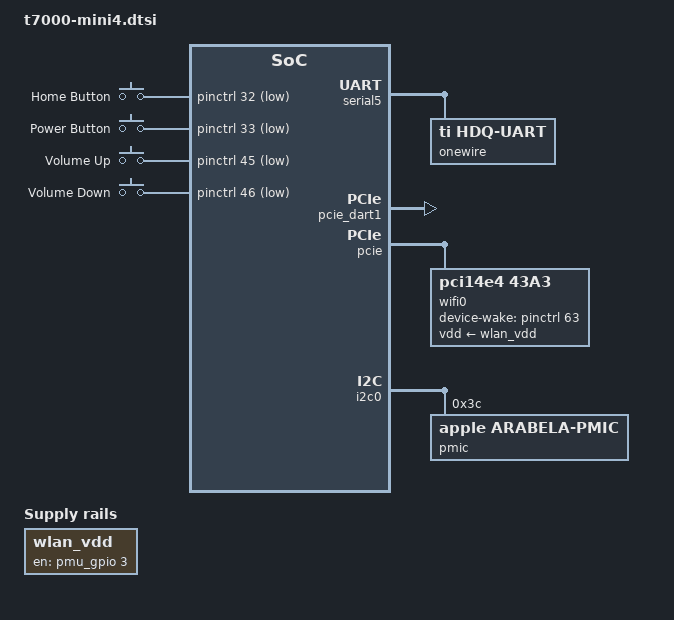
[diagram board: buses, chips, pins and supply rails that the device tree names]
// SPDX-License-Identifier: GPL-2.0+ OR MIT
/*
 * Apple iPad mini 4 common device tree
 *
 * Copyright (c) 2022, Konrad Dybcio <konradybcio@kernel.org>
 */

#include "t7000.dtsi"
#include "t7000-common.dtsi"
#include "t7000-handheld.dtsi"
#include <dt-bindings/input/input.h>

/ {
	chassis-type = "tablet";

	aliases {
		serial5 = &serial5;
		wifi0 = &wifi0;
	};

	/* Wi-Fi REG_ON is D2207 GPIO 3. */
	wlan_vdd: regulator-wlan-vdd {
		compatible = "regulator-fixed";
		regulator-name = "wlan-vdd";
		gpio = <&pmu_gpio 3 GPIO_ACTIVE_HIGH>;
		enable-active-high;
		off-on-delay-us = <100000>;
	};

	gpio-keys {
		compatible = "gpio-keys";

		button-home {
			label = "Home Button";
			gpios = <&pinctrl 32 GPIO_ACTIVE_LOW>;
			linux,code = <KEY_HOMEPAGE>;
			wakeup-source;
		};

		button-power {
			label = "Power Button";
			gpios = <&pinctrl 33 GPIO_ACTIVE_LOW>;
			linux,code = <KEY_POWER>;
			wakeup-source;
		};

		button-volup {
			label = "Volume Up";
			gpios = <&pinctrl 45 GPIO_ACTIVE_LOW>;
			linux,code = <KEY_VOLUMEUP>;
		};

		button-voldown {
			label = "Volume Down";
			gpios = <&pinctrl 46 GPIO_ACTIVE_LOW>;
			linux,code = <KEY_VOLUMEDOWN>;
		};
	};
};

/* The bq27540 gauge on UART5's HDQ line (ADT uart5/gas-gauge). */
&serial5 {
	pinctrl-0 = <&uart5_pins>;
	pinctrl-names = "default";
	status = "okay";

	onewire {
		compatible = "ti,hdq-uart";

		fuel-gauge {
			compatible = "ti,bq27540-hdq";
		};
	};
};

&pcie_dart1 {
	status = "okay";
};

/*
 * The BCM4350 on root port 1 (ADT apcie/pci-bridge1): PERST# GPIO 77,
 * DEVICE_WAKE GPIO 63, Gen1. Port 0 has nothing attached on either model;
 * the J97's baseband is not on PCIe. CLKREQ# (GPIO 41) is not described,
 * as on the T7001. Each board names its Wi-Fi module.
 */
&pcie {
	/* ADT dart-apcie1 vm-offset and vm-size; SID 0 */
	iommu-map = <0x100 &pcie_dart1 0 0x0 0x80000000 0x0 0x3ffff000 1>;
	iommu-map-mask = <0xff00>;
	status = "okay";

	pci@1,0 {
		device_type = "pci";
		reg = <0x800 0x0 0x0 0x0 0x0>;
		bus-range = <1 1>;
		reset-gpios = <&pinctrl 77 GPIO_ACTIVE_LOW>;
		max-link-speed = <1>;
		#address-cells = <3>;
		#size-cells = <2>;
		ranges;

		wifi0: wifi@0,0 {
			compatible = "pci14e4,43a3";
			reg = <0x10000 0x0 0x0 0x0 0x0>;
			device-wake-gpios = <&pinctrl 63 GPIO_ACTIVE_HIGH>;
			vdd-supply = <&wlan_vdd>;
		};
	};
};

&framebuffer0 {
	power-domains = <&ps_disp0 &ps_dp>;
};

&typhoon_opp06 {
	status = "okay";
};

&typhoon_opp07 {
	status = "okay";
};

&i2c0 {
	status = "okay";

	pmic@3c {
		compatible = "apple,arabela-pmic", "apple,i2c-pmic";
		reg = <0x3c>;
		#address-cells = <1>;
		#size-cells = <1>;

		rtc@5c0 {
			compatible = "apple,arabela-pmic-rtc", "apple,amber-pmic-rtc";
			reg = <0x5c0 0x10>;
			nvmem-cells = <&rtc_offset>;
			nvmem-cell-names = "rtc_offset";
		};

		nvmem@4000 {
			compatible = "apple,pmic-nvmem";
			reg = <0x4000 0x28>;

			nvmem-layout {
				compatible = "fixed-layout";
				#address-cells = <1>;
				#size-cells = <1>;

				rtc_offset: rtc-offset@4 {
					reg = <0x4 0x4>;
				};
			};
		};

		pmu_gpio: gpio {
			compatible = "apple,d2207-pmic-gpio";
			gpio-controller;
			#gpio-cells = <2>;
			/* Only REG_ON (3) is used; the others stay as iBoot left them. */
			gpio-reserved-ranges = <0 3>, <4 17>;
		};
	};
};
